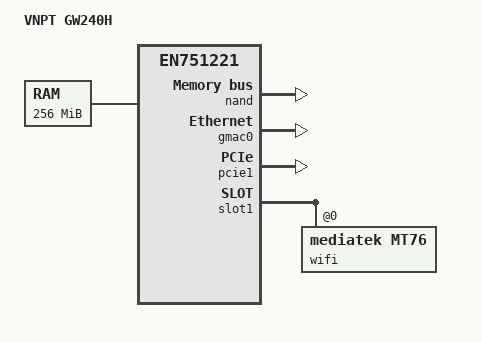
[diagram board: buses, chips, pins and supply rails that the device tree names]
// SPDX-License-Identifier: (GPL-2.0-only OR BSD-2-Clause)
/dts-v1/;

#include "en751221.dtsi"
#include <dt-bindings/gpio/gpio.h>

/ {
	model = "VNPT GW240H";
	compatible = "vnpt,gw240h", "econet,en751221";

	memory@0 {
		device_type = "memory";
		reg = <0x00000000 0x10000000>;
	};

	/* Reserve staging buffer for xmodem flashing (same as GW040H) */
	reserved-memory {
		#address-cells = <1>;
		#size-cells = <1>;
		ranges;

		staging@5000000 {
			reg = <0x05000000 0x01000000>;
			no-map;
		};
	};

	chosen {
		stdout-path = "/serial@1fbf0000:115200";
		bootargs = "console=ttyS0,115200 ubi.mtd=rootfs_ubi";
	};
};

&nand {
	status = "okay";
	econet,bmt;

	partitions {
		compatible = "fixed-partitions";
		#address-cells = <1>;
		#size-cells = <1>;

		partition@0 {
			label = "bootloader";
			reg = <0x0 0x40000>;
			read-only;
		};

		partition@40000 {
			label = "romfile";
			reg = <0x40000 0x40000>;
			read-only;
		};

		partition@80000 {
			label = "tclinux";
			reg = <0x80000 0xc00000>;
			econet,enable-remap;
		};

		/* The OEM bootbase on this unit has "boot flag = 1" and therefore
		 * boots the image in the slave slot at 0x1e80000 (a 30 MiB slot
		 * in the stock layout: 0x1e80000 .. 0x3c80000). Keep the whole
		 * 2RDH container there so the bootbase finds a valid kernel and
		 * a matching kernel+rootfs JAMCRC. Writing it anywhere else
		 * results in "Undefined Exception happen" at boot. */
		partition@1e80000 {
			label = "tclinux_alt";
			reg = <0x1e80000 0xc00000>;
			econet,enable-remap;
		};

		/* 34 MiB UBI window placed immediately after the slave slot
		 * (which ends at 0x2a80000): the squashfs "rootfs" volume plus
		 * a rootfs_data overlay which auto-sizes to the remaining
		 * ~27 MiB. It must not overlap the slave slot, otherwise the
		 * bootbase image (and its CRC) is destroyed. */
		partition@2a80000 {
			label = "rootfs_ubi";
			reg = <0x2a80000 0x2200000>;
		};

		partition@4c80000 {
			label = "yaffs";
			reg = <0x4c80000 0x1200000>;
		};

		partition@5e80000 {
			label = "safedata";
			reg = <0x5e80000 0xa00000>;
		};

		partition@7520000 {
			label = "reservearea";
			reg = <0x7520000 0xc0000>;
			nvmem-layout {
				compatible = "fixed-layout";
				#address-cells = <1>;
				#size-cells = <1>;

				/* Factory MT7615 EEPROM (macro "0x7615" in the
				 * low endian chip-id field at 0x000, MAC at
				 * 0x004). One MT7615 serves both bands.
				 * mt7615_eeprom_load() requests
				 * MT7615_EEPROM_FULL_SIZE (0x4da8) bytes via
				 * nvmem; a shorter cell makes the read fail
				 * with -EINVAL and mt76_eeprom_init() then
				 * quietly continues with a zeroed EEPROM.
				 * Only the first 0x400 bytes (the MT7615 base
				 * EEPROM) are populated in flash - the
				 * DCOC/TXDPD tail stays 0xff, which is fine
				 * because MT_EE_CALDATA_FLASH (0x052) is 0x00
				 * here, so those tables are never read. */
				eeprom_mt7615: eeprom@20000 {
					reg = <0x20000 0x4da8>;
				};
			};
		};
	};
};

&gmac0 {
	status = "okay";
};

/* The WiFi module is a single MediaTek MT7615D on PCIe controller 1
 * (1fb83000). It enumerates as 14c3:7615 and provides both bands from
 * the calibration data stored in "reservearea". PCIe controller 0
 * (1fb81000) reports a link timeout - nothing is attached there. */
&pcie1 {
	status = "okay";
};

&slot1 {
	wifi@0,0 {
		compatible = "mediatek,mt76";
		reg = <0x0000 0 0 0 0>;
		nvmem-cells = <&eeprom_mt7615>;
		nvmem-cell-names = "eeprom";
	};
};

/* No gpio-leds / gpio-keys nodes yet: board.d/01_leds only creates phantom
 * LED config (the sysfs names it references do not exist) and the GPIO pins
 * for the case LEDs and buttons have not been probed. See README. */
